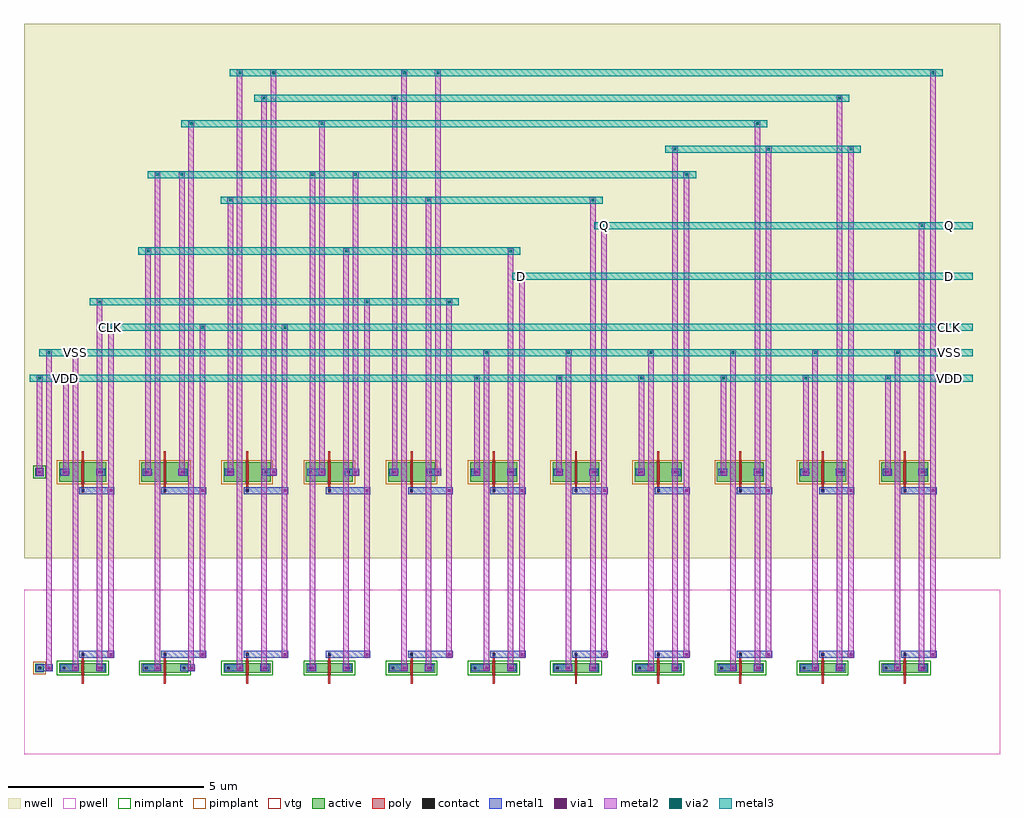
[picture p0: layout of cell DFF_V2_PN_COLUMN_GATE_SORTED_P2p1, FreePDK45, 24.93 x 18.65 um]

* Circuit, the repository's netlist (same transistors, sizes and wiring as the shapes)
* cell DFF_V2_PN_COLUMN_GATE_SORTED_P2p1
* pin CLK
* pin D
* pin Q
* pin VDD
* pin VSS
.SUBCKT DFF_V2_PN_COLUMN_GATE_SORTED_P2p1 7 8 9 12 13
* net 7 CLK
* net 8 D
* net 9 Q
* net 12 VDD
* net 13 VSS
* device instance $1 r0 *1 22.2,7 PMOS_VTG
M$1 9 4 12 12 PMOS_VTG L=0.05U W=0.5U AS=0.2875P AD=0.2875P PS=2.15U PD=2.15U
* device instance $2 r0 *1 18,7 PMOS_VTG
M$2 3 6 12 12 PMOS_VTG L=0.05U W=0.5U AS=0.2875P AD=0.2875P PS=2.15U PD=2.15U
* device instance $3 r0 *1 15.9,7 PMOS_VTG
M$3 6 2 12 12 PMOS_VTG L=0.05U W=0.5U AS=0.2875P AD=0.2875P PS=2.15U PD=2.15U
* device instance $4 r0 *1 13.8,7 PMOS_VTG
M$4 11 9 12 12 PMOS_VTG L=0.05U W=0.5U AS=0.2875P AD=0.2875P PS=2.15U PD=2.15U
* device instance $5 r0 *1 20.1,7 PMOS_VTG
M$5 5 6 12 12 PMOS_VTG L=0.05U W=0.5U AS=0.2875P AD=0.2875P PS=2.15U PD=2.15U
* device instance $6 r0 *1 1.2,7 PMOS_VTG
M$6 1 7 12 12 PMOS_VTG L=0.05U W=0.5U AS=0.2875P AD=0.2875P PS=2.15U PD=2.15U
* device instance $7 r0 *1 3.3,7 PMOS_VTG
M$7 2 7 10 12 PMOS_VTG L=0.05U W=0.5U AS=0.2875P AD=0.2875P PS=2.15U PD=2.15U
* device instance $8 r0 *1 5.4,7 PMOS_VTG
M$8 4 7 11 12 PMOS_VTG L=0.05U W=0.5U AS=0.2875P AD=0.2875P PS=2.15U PD=2.15U
* device instance $9 r0 *1 7.5,7 PMOS_VTG
M$9 2 1 3 12 PMOS_VTG L=0.05U W=0.5U AS=0.2875P AD=0.2875P PS=2.15U PD=2.15U
* device instance $10 r0 *1 9.6,7 PMOS_VTG
M$10 4 1 5 12 PMOS_VTG L=0.05U W=0.5U AS=0.2875P AD=0.2875P PS=2.15U PD=2.15U
* device instance $11 r0 *1 11.7,7 PMOS_VTG
M$11 10 8 12 12 PMOS_VTG L=0.05U W=0.5U AS=0.2875P AD=0.2875P PS=2.15U PD=2.15U
* device instance $12 r0 *1 22.2,2 NMOS_VTG
M$12 9 4 13 13 NMOS_VTG L=0.05U W=0.25U AS=0.14375P AD=0.14375P PS=1.65U
+ PD=1.65U
* device instance $13 r0 *1 18,2 NMOS_VTG
M$13 3 6 13 13 NMOS_VTG L=0.05U W=0.25U AS=0.14375P AD=0.14375P PS=1.65U
+ PD=1.65U
* device instance $14 r0 *1 15.9,2 NMOS_VTG
M$14 6 2 13 13 NMOS_VTG L=0.05U W=0.25U AS=0.14375P AD=0.14375P PS=1.65U
+ PD=1.65U
* device instance $15 r0 *1 20.1,2 NMOS_VTG
M$15 5 6 13 13 NMOS_VTG L=0.05U W=0.25U AS=0.14375P AD=0.14375P PS=1.65U
+ PD=1.65U
* device instance $16 r0 *1 13.8,2 NMOS_VTG
M$16 11 9 13 13 NMOS_VTG L=0.05U W=0.25U AS=0.14375P AD=0.14375P PS=1.65U
+ PD=1.65U
* device instance $17 r0 *1 1.2,2 NMOS_VTG
M$17 1 7 13 13 NMOS_VTG L=0.05U W=0.25U AS=0.14375P AD=0.14375P PS=1.65U
+ PD=1.65U
* device instance $18 r0 *1 3.3,2 NMOS_VTG
M$18 3 7 2 13 NMOS_VTG L=0.05U W=0.25U AS=0.14375P AD=0.14375P PS=1.65U PD=1.65U
* device instance $19 r0 *1 5.4,2 NMOS_VTG
M$19 5 7 4 13 NMOS_VTG L=0.05U W=0.25U AS=0.14375P AD=0.14375P PS=1.65U PD=1.65U
* device instance $20 r0 *1 7.5,2 NMOS_VTG
M$20 10 1 2 13 NMOS_VTG L=0.05U W=0.25U AS=0.14375P AD=0.14375P PS=1.65U
+ PD=1.65U
* device instance $21 r0 *1 9.6,2 NMOS_VTG
M$21 11 1 4 13 NMOS_VTG L=0.05U W=0.25U AS=0.14375P AD=0.14375P PS=1.65U
+ PD=1.65U
* device instance $22 r0 *1 11.7,2 NMOS_VTG
M$22 10 8 13 13 NMOS_VTG L=0.05U W=0.25U AS=0.14375P AD=0.14375P PS=1.65U
+ PD=1.65U
.ENDS DFF_V2_PN_COLUMN_GATE_SORTED_P2p1

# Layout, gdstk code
import gdstk
lib = gdstk.Library(unit=1e-6, precision=5e-10)
def R(c, l, rs):  # rectangles x0, y0, x1, y1
    for r in rs: c.add(gdstk.rectangle(r[:2], r[2:], *l))
def A(c, l, x, y, w, h, nx, ny, dx, dy):  # array of equal rectangles
    R(c, l, [(x+i*dx, y+j*dy, x+i*dx+w, y+j*dy+h) for i in range(nx) for j in range(ny)])
active = (1, 0)
pwell = (2, 0)
nwell = (3, 0)
nimplant = (4, 0)
pimplant = (5, 0)
vtg = (6, 0)
poly = (9, 0)
contact = (10, 0)
metal1 = (11, 0)
via1 = (12, 0)
metal2 = (13, 0)
via2 = (14, 0)
metal3 = (15, 0)

dff_v2_pn_column_gate_so = lib.new_cell('DFF_V2_PN_COLUMN_GATE_SORTED_P2p1')
A(dff_v2_pn_column_gate_so, active, 0.6, 1.875, 1.2, 0.25, 11, 1, 2.1, 0)
A(dff_v2_pn_column_gate_so, active, 0.6, 6.75, 1.2, 0.5, 11, 1, 2.1, 0)
R(dff_v2_pn_column_gate_so, active, [(-0.01,1.89,0.21,2.11), (-0.01,6.89,0.21,7.11)])
R(dff_v2_pn_column_gate_so, pwell, [(-0.3,-0.2,24.63,4)])
R(dff_v2_pn_column_gate_so, nwell, [(-0.3,4.8,24.63,18.45)])
A(dff_v2_pn_column_gate_so, nimplant, 0.54, 1.815, 1.32, 0.37, 11, 1, 2.1, 0)
R(dff_v2_pn_column_gate_so, nimplant, [(-0.06,6.84,0.26,7.16)])
A(dff_v2_pn_column_gate_so, pimplant, 0.54, 6.69, 1.32, 0.62, 11, 1, 2.1, 0)
R(dff_v2_pn_column_gate_so, pimplant, [(-0.06,1.84,0.26,2.16)])
A(dff_v2_pn_column_gate_so, vtg, 1.165, 1.845, 0.07, 0.31, 11, 1, 2.1, 0)
A(dff_v2_pn_column_gate_so, vtg, 1.165, 6.72, 0.07, 0.56, 11, 1, 2.1, 0)
A(dff_v2_pn_column_gate_so, poly, 1.175, 1.595, 0.05, 0.81, 11, 1, 2.1, 0)
A(dff_v2_pn_column_gate_so, poly, 1.175, 6.47, 0.05, 1.06, 11, 1, 2.1, 0)
A(dff_v2_pn_column_gate_so, contact, 1.17, 2.315, 0.065, 0.065, 11, 2, 2.1, 4.185)
R(dff_v2_pn_column_gate_so, contact, [(0.07,1.97,0.135,2.035), (0.69,1.97,0.755,2.035), (1.65,1.97,1.715,2.035), (2.79,1.97,2.855,2.035), (3.75,1.97,3.815,2.035), (4.89,1.97,4.955,2.035), (5.85,1.97,5.915,2.035), (6.99,1.97,7.055,2.035), (7.95,1.97,8.015,2.035), (9.09,1.97,9.155,2.035), (10.05,1.97,10.115,2.035), (11.19,1.97,11.255,2.035), (12.15,1.97,12.215,2.035), (13.29,1.97,13.355,2.035), (14.25,1.97,14.315,2.035), (15.39,1.97,15.455,2.035), (16.35,1.97,16.415,2.035), (17.49,1.97,17.555,2.035), (18.45,1.97,18.515,2.035), (19.59,1.97,19.655,2.035), (20.55,1.97,20.615,2.035), (21.69,1.97,21.755,2.035), (22.65,1.97,22.715,2.035), (0.07,6.97,0.135,7.035), (0.69,6.97,0.755,7.035), (1.65,6.97,1.715,7.035), (2.79,6.97,2.855,7.035), (3.75,6.97,3.815,7.035), (4.89,6.97,4.955,7.035), (5.85,6.97,5.915,7.035), (6.99,6.97,7.055,7.035), (7.95,6.97,8.015,7.035), (9.09,6.97,9.155,7.035), (10.05,6.97,10.115,7.035), (11.19,6.97,11.255,7.035), (12.15,6.97,12.215,7.035), (13.29,6.97,13.355,7.035), (14.25,6.97,14.315,7.035), (15.39,6.97,15.455,7.035), (16.35,6.97,16.415,7.035), (17.49,6.97,17.555,7.035), (18.45,6.97,18.515,7.035), (19.59,6.97,19.655,7.035), (20.55,6.97,20.615,7.035), (21.69,6.97,21.755,7.035), (22.65,6.97,22.715,7.035)])
A(dff_v2_pn_column_gate_so, metal1, 9.17, 1.91, 0.24, 0.18, 7, 1, 2.1, 0)
A(dff_v2_pn_column_gate_so, metal1, 3.3, 2.255, 0.96, 0.18, 4, 2, 2.1, 4.185)
A(dff_v2_pn_column_gate_so, metal1, 11.7, 2.255, 0.72, 0.18, 6, 2, 2.1, 4.185)
R(dff_v2_pn_column_gate_so, metal1, [(0,1.9,0.2,2.1), (0.1,1.91,0.34,2.09), (0.1,1.91,0.34,2.09), (0.1,1.91,0.34,2.09), (0.1,1.91,0.34,2.09), (0.1,1.91,0.34,2.09), (0.1,1.91,0.34,2.09), (0.1,1.91,0.34,2.09), (0.1,1.91,0.34,2.09), (0.1,1.91,0.34,2.09), (0.1,1.91,0.34,2.09), (0.1,1.91,0.34,2.09), (0.1,1.91,0.34,2.09), (0.25,1.91,0.43,2.09), (0.25,1.91,0.43,2.09), (0.25,1.91,0.43,2.09), (0.25,1.91,0.43,2.09), (0.25,1.91,0.43,2.09), (0.25,1.91,0.43,2.09), (0.25,1.91,0.43,2.09), (0.25,1.91,0.43,2.09), (0.25,1.91,0.43,2.09), (0.25,1.91,0.43,2.09), (0.25,1.91,0.43,2.09), (0.25,1.91,0.43,2.09), (0.63,1.91,0.81,2.09), (0.77,1.91,1.01,2.09), (0.92,1.91,1.1,2.09), (1.54,1.91,1.72,2.09), (1.59,1.91,1.77,2.09), (2.73,1.91,2.91,2.09), (2.87,1.91,3.11,2.09), (3.02,1.91,3.2,2.09), (3.69,1.91,3.87,2.09), (3.73,1.91,3.97,2.09), (3.88,1.91,4.06,2.09), (4.83,1.91,5.01,2.09), (4.97,1.91,5.21,2.09), (5.12,1.91,5.3,2.09), (5.74,1.91,5.92,2.09), (5.79,1.91,5.97,2.09), (6.93,1.91,7.11,2.09), (6.98,1.91,7.16,2.09), (7.84,1.91,8.02,2.09), (7.89,1.91,8.07,2.09), (9.03,1.91,9.21,2.09), (9.32,1.91,9.5,2.09), (9.94,1.91,10.12,2.09), (9.99,1.91,10.17,2.09), (11.13,1.91,11.31,2.09), (11.42,1.91,11.6,2.09), (12.04,1.91,12.22,2.09), (12.09,1.91,12.27,2.09), (13.23,1.91,13.41,2.09), (13.52,1.91,13.7,2.09), (14.14,1.91,14.32,2.09), (14.19,1.91,14.37,2.09), (15.33,1.91,15.51,2.09), (15.62,1.91,15.8,2.09), (16.24,1.91,16.42,2.09), (16.29,1.91,16.47,2.09), (17.43,1.91,17.61,2.09), (17.72,1.91,17.9,2.09), (18.34,1.91,18.52,2.09), (18.39,1.91,18.57,2.09), (19.53,1.91,19.71,2.09), (19.82,1.91,20,2.09), (20.44,1.91,20.62,2.09), (20.49,1.91,20.67,2.09), (21.63,1.91,21.81,2.09), (21.92,1.91,22.1,2.09), (22.54,1.91,22.72,2.09), (22.59,1.91,22.77,2.09), (1.11,2.255,1.29,2.435), (1.2,2.255,1.92,2.435), (1.83,2.255,2.01,2.435), (3.21,2.255,3.39,2.435), (4.17,2.255,4.35,2.435), (5.31,2.255,5.49,2.435), (6.27,2.255,6.45,2.435), (7.41,2.255,7.59,2.435), (8.37,2.255,8.55,2.435), (9.51,2.255,9.69,2.435), (10.47,2.255,10.65,2.435), (11.61,2.255,11.79,2.435), (12.33,2.255,12.51,2.435), (13.71,2.255,13.89,2.435), (14.43,2.255,14.61,2.435), (15.81,2.255,15.99,2.435), (16.53,2.255,16.71,2.435), (17.91,2.255,18.09,2.435), (18.63,2.255,18.81,2.435), (20.01,2.255,20.19,2.435), (20.73,2.255,20.91,2.435), (22.11,2.255,22.29,2.435), (22.83,2.255,23.01,2.435), (1.11,6.44,1.29,6.62), (1.2,6.44,1.92,6.62), (1.83,6.44,2.01,6.62), (3.21,6.44,3.39,6.62), (4.17,6.44,4.35,6.62), (5.31,6.44,5.49,6.62), (6.27,6.44,6.45,6.62), (7.41,6.44,7.59,6.62), (8.37,6.44,8.55,6.62), (9.51,6.44,9.69,6.62), (10.47,6.44,10.65,6.62), (11.61,6.44,11.79,6.62), (12.33,6.44,12.51,6.62), (13.71,6.44,13.89,6.62), (14.43,6.44,14.61,6.62), (15.81,6.44,15.99,6.62), (16.53,6.44,16.71,6.62), (17.91,6.44,18.09,6.62), (18.63,6.44,18.81,6.62), (20.01,6.44,20.19,6.62), (20.73,6.44,20.91,6.62), (22.11,6.44,22.29,6.62), (22.83,6.44,23.01,6.62), (0,6.9,0.2,7.1), (0.01,6.91,0.19,7.09), (0.01,6.91,0.19,7.09), (0.01,6.91,0.19,7.09), (0.01,6.91,0.19,7.09), (0.01,6.91,0.19,7.09), (0.01,6.91,0.19,7.09), (0.01,6.91,0.19,7.09), (0.01,6.91,0.19,7.09), (0.01,6.91,0.19,7.09), (0.01,6.91,0.19,7.09), (0.01,6.91,0.19,7.09), (0.01,6.91,0.19,7.09), (0.63,6.91,0.81,7.09), (0.68,6.91,0.86,7.09), (1.54,6.91,1.72,7.09), (1.59,6.91,1.77,7.09), (2.73,6.91,2.91,7.09), (2.78,6.91,2.96,7.09), (3.64,6.91,3.82,7.09), (3.69,6.91,3.87,7.09), (4.83,6.91,5.01,7.09), (4.88,6.91,5.06,7.09), (5.79,6.91,5.97,7.09), (5.83,6.91,6.07,7.09), (5.98,6.91,6.16,7.09), (6.93,6.91,7.11,7.09), (7.07,6.91,7.31,7.09), (7.22,6.91,7.4,7.09), (7.89,6.91,8.07,7.09), (7.93,6.91,8.17,7.09), (8.08,6.91,8.26,7.09), (9.03,6.91,9.21,7.09), (9.08,6.91,9.26,7.09), (9.99,6.91,10.17,7.09), (10.03,6.91,10.27,7.09), (10.18,6.91,10.36,7.09), (11.13,6.91,11.31,7.09), (11.18,6.91,11.36,7.09), (12.04,6.91,12.22,7.09), (12.09,6.91,12.27,7.09), (13.23,6.91,13.41,7.09), (13.28,6.91,13.46,7.09), (14.14,6.91,14.32,7.09), (14.19,6.91,14.37,7.09), (15.33,6.91,15.51,7.09), (15.38,6.91,15.56,7.09), (16.24,6.91,16.42,7.09), (16.29,6.91,16.47,7.09), (17.43,6.91,17.61,7.09), (17.48,6.91,17.66,7.09), (18.34,6.91,18.52,7.09), (18.39,6.91,18.57,7.09), (19.53,6.91,19.71,7.09), (19.58,6.91,19.76,7.09), (20.44,6.91,20.62,7.09), (20.49,6.91,20.67,7.09), (21.63,6.91,21.81,7.09), (21.68,6.91,21.86,7.09), (22.54,6.91,22.72,7.09), (22.59,6.91,22.77,7.09)])
A(dff_v2_pn_column_gate_so, via1, 4.23, 2.315, 0.065, 0.065, 4, 2, 2.1, 4.185)
A(dff_v2_pn_column_gate_so, via1, 12.39, 2.315, 0.065, 0.065, 6, 2, 2.1, 4.185)
R(dff_v2_pn_column_gate_so, via1, [(0.31,1.97,0.375,2.035), (0.31,1.97,0.375,2.035), (0.31,1.97,0.375,2.035), (0.31,1.97,0.375,2.035), (0.31,1.97,0.375,2.035), (0.31,1.97,0.375,2.035), (0.31,1.97,0.375,2.035), (0.31,1.97,0.375,2.035), (0.31,1.97,0.375,2.035), (0.31,1.97,0.375,2.035), (0.31,1.97,0.375,2.035), (0.31,1.97,0.375,2.035), (0.98,1.97,1.045,2.035), (1.6,1.97,1.665,2.035), (3.08,1.97,3.145,2.035), (3.94,1.97,4.005,2.035), (5.18,1.97,5.245,2.035), (5.8,1.97,5.865,2.035), (7.04,1.97,7.105,2.035), (7.9,1.97,7.965,2.035), (9.38,1.97,9.445,2.035), (10,1.97,10.065,2.035), (11.48,1.97,11.545,2.035), (12.1,1.97,12.165,2.035), (13.58,1.97,13.645,2.035), (14.2,1.97,14.265,2.035), (15.68,1.97,15.745,2.035), (16.3,1.97,16.365,2.035), (17.78,1.97,17.845,2.035), (18.4,1.97,18.465,2.035), (19.88,1.97,19.945,2.035), (20.5,1.97,20.565,2.035), (21.98,1.97,22.045,2.035), (22.6,1.97,22.665,2.035), (1.89,2.315,1.955,2.38), (1.89,6.5,1.955,6.565), (0.07,6.97,0.135,7.035), (0.07,6.97,0.135,7.035), (0.07,6.97,0.135,7.035), (0.07,6.97,0.135,7.035), (0.07,6.97,0.135,7.035), (0.07,6.97,0.135,7.035), (0.07,6.97,0.135,7.035), (0.07,6.97,0.135,7.035), (0.07,6.97,0.135,7.035), (0.07,6.97,0.135,7.035), (0.07,6.97,0.135,7.035), (0.07,6.97,0.135,7.035), (0.74,6.97,0.805,7.035), (1.6,6.97,1.665,7.035), (2.84,6.97,2.905,7.035), (3.7,6.97,3.765,7.035), (4.94,6.97,5.005,7.035), (6.04,6.97,6.105,7.035), (7.28,6.97,7.345,7.035), (8.14,6.97,8.205,7.035), (9.14,6.97,9.205,7.035), (10.24,6.97,10.305,7.035), (11.24,6.97,11.305,7.035), (12.1,6.97,12.165,7.035), (13.34,6.97,13.405,7.035), (14.2,6.97,14.265,7.035), (15.44,6.97,15.505,7.035), (16.3,6.97,16.365,7.035), (17.54,6.97,17.605,7.035), (18.4,6.97,18.465,7.035), (19.64,6.97,19.705,7.035), (20.5,6.97,20.565,7.035), (21.74,6.97,21.805,7.035), (22.6,6.97,22.665,7.035)])
A(dff_v2_pn_column_gate_so, metal2, 11.44, 2, 0.14, 8.05, 6, 1, 2.1, 0)
A(dff_v2_pn_column_gate_so, metal2, 4.185, 2.27, 0.15, 0.15, 4, 2, 2.1, 4.185)
A(dff_v2_pn_column_gate_so, metal2, 12.345, 2.27, 0.15, 0.15, 6, 2, 2.1, 4.185)
A(dff_v2_pn_column_gate_so, metal2, 11.2, 7, 0.14, 2.4, 6, 1, 2.1, 0)
A(dff_v2_pn_column_gate_so, metal2, 11.195, 9.325, 0.15, 0.15, 6, 1, 2.1, 0)
A(dff_v2_pn_column_gate_so, metal2, 11.435, 9.975, 0.15, 0.15, 6, 1, 2.1, 0)
R(dff_v2_pn_column_gate_so, metal2, [(0.265,1.925,0.415,2.075), (0.265,1.925,0.415,2.075), (0.265,1.925,0.415,2.075), (0.265,1.925,0.415,2.075), (0.265,1.925,0.415,2.075), (0.265,1.925,0.415,2.075), (0.265,1.925,0.415,2.075), (0.265,1.925,0.415,2.075), (0.265,1.925,0.415,2.075), (0.265,1.925,0.415,2.075), (0.265,1.925,0.415,2.075), (0.265,1.925,0.415,2.075), (0.935,1.925,1.085,2.075), (1.555,1.925,1.705,2.075), (3.035,1.925,3.185,2.075), (3.895,1.925,4.045,2.075), (5.135,1.925,5.285,2.075), (5.755,1.925,5.905,2.075), (6.995,1.925,7.145,2.075), (7.855,1.925,8.005,2.075), (9.335,1.925,9.485,2.075), (9.955,1.925,10.105,2.075), (11.435,1.925,11.585,2.075), (12.055,1.925,12.205,2.075), (13.535,1.925,13.685,2.075), (14.155,1.925,14.305,2.075), (15.635,1.925,15.785,2.075), (16.255,1.925,16.405,2.075), (17.735,1.925,17.885,2.075), (18.355,1.925,18.505,2.075), (19.835,1.925,19.985,2.075), (20.455,1.925,20.605,2.075), (21.935,1.925,22.085,2.075), (22.555,1.925,22.705,2.075), (0.27,2,0.41,10.05), (0.27,2,0.41,10.05), (0.27,2,0.41,10.05), (0.27,2,0.41,10.05), (0.27,2,0.41,10.05), (0.27,2,0.41,10.05), (0.27,2,0.41,10.05), (0.27,2,0.41,10.05), (0.27,2,0.41,10.05), (0.27,2,0.41,10.05), (0.27,2,0.41,10.05), (0.27,2,0.41,10.05), (0.94,2,1.08,10.05), (1.56,2,1.7,11.35), (3.04,2,3.18,14.6), (3.9,2,4.04,15.9), (5.14,2,5.28,17.2), (5.76,2,5.9,16.55), (7,2,7.14,14.6), (7.86,2,8,12.65), (9.34,2,9.48,17.2), (9.96,2,10.1,13.95), (12.06,2,12.2,12.65), (14.16,2,14.3,13.95), (16.26,2,16.4,15.25), (18.36,2,18.5,15.9), (20.46,2,20.6,16.55), (22.56,2,22.7,13.3), (1.845,2.27,1.995,2.42), (1.85,2.345,1.99,10.7), (4.19,2.345,4.33,10.7), (6.29,2.345,6.43,10.7), (8.39,2.345,8.53,11.35), (10.49,2.345,10.63,11.35), (12.35,2.345,12.49,12), (14.45,2.345,14.59,13.3), (16.55,2.345,16.69,14.6), (18.65,2.345,18.79,15.25), (20.75,2.345,20.89,15.25), (22.85,2.345,22.99,17.2), (1.845,6.455,1.995,6.605), (1.85,6.53,1.99,10.7), (4.19,6.53,4.33,10.7), (6.29,6.53,6.43,10.7), (8.39,6.53,8.53,11.35), (10.49,6.53,10.63,11.35), (12.35,6.53,12.49,12), (14.45,6.53,14.59,13.3), (16.55,6.53,16.69,14.6), (18.65,6.53,18.79,15.25), (20.75,6.53,20.89,15.25), (22.85,6.53,22.99,17.2), (0.025,6.925,0.175,7.075), (0.025,6.925,0.175,7.075), (0.025,6.925,0.175,7.075), (0.025,6.925,0.175,7.075), (0.025,6.925,0.175,7.075), (0.025,6.925,0.175,7.075), (0.025,6.925,0.175,7.075), (0.025,6.925,0.175,7.075), (0.025,6.925,0.175,7.075), (0.025,6.925,0.175,7.075), (0.025,6.925,0.175,7.075), (0.025,6.925,0.175,7.075), (0.695,6.925,0.845,7.075), (1.555,6.925,1.705,7.075), (2.795,6.925,2.945,7.075), (3.655,6.925,3.805,7.075), (4.895,6.925,5.045,7.075), (5.995,6.925,6.145,7.075), (7.235,6.925,7.385,7.075), (8.095,6.925,8.245,7.075), (9.095,6.925,9.245,7.075), (10.195,6.925,10.345,7.075), (11.195,6.925,11.345,7.075), (12.055,6.925,12.205,7.075), (13.295,6.925,13.445,7.075), (14.155,6.925,14.305,7.075), (15.395,6.925,15.545,7.075), (16.255,6.925,16.405,7.075), (17.495,6.925,17.645,7.075), (18.355,6.925,18.505,7.075), (19.595,6.925,19.745,7.075), (20.455,6.925,20.605,7.075), (21.695,6.925,21.845,7.075), (22.555,6.925,22.705,7.075), (0.03,7,0.17,9.4), (0.03,7,0.17,9.4), (0.03,7,0.17,9.4), (0.03,7,0.17,9.4), (0.03,7,0.17,9.4), (0.03,7,0.17,9.4), (0.03,7,0.17,9.4), (0.03,7,0.17,9.4), (0.03,7,0.17,9.4), (0.03,7,0.17,9.4), (0.03,7,0.17,9.4), (0.03,7,0.17,9.4), (0.7,7,0.84,9.4), (1.56,7,1.7,11.35), (2.8,7,2.94,12.65), (3.66,7,3.8,14.6), (4.9,7,5.04,13.95), (6,7,6.14,17.2), (7.24,7,7.38,15.9), (8.1,7,8.24,14.6), (9.1,7,9.24,16.55), (10.2,7,10.34,17.2), (12.06,7,12.2,12.65), (14.16,7,14.3,13.95), (16.26,7,16.4,15.25), (18.36,7,18.5,15.9), (20.46,7,20.6,16.55), (22.56,7,22.7,13.3), (0.025,9.325,0.175,9.475), (0.025,9.325,0.175,9.475), (0.025,9.325,0.175,9.475), (0.025,9.325,0.175,9.475), (0.025,9.325,0.175,9.475), (0.025,9.325,0.175,9.475), (0.025,9.325,0.175,9.475), (0.025,9.325,0.175,9.475), (0.025,9.325,0.175,9.475), (0.025,9.325,0.175,9.475), (0.025,9.325,0.175,9.475), (0.025,9.325,0.175,9.475), (0.695,9.325,0.845,9.475), (0.265,9.975,0.415,10.125), (0.265,9.975,0.415,10.125), (0.265,9.975,0.415,10.125), (0.265,9.975,0.415,10.125), (0.265,9.975,0.415,10.125), (0.265,9.975,0.415,10.125), (0.265,9.975,0.415,10.125), (0.265,9.975,0.415,10.125), (0.265,9.975,0.415,10.125), (0.265,9.975,0.415,10.125), (0.265,9.975,0.415,10.125), (0.265,9.975,0.415,10.125), (0.935,9.975,1.085,10.125), (1.845,10.625,1.995,10.775), (1.845,10.625,1.995,10.775), (4.185,10.625,4.335,10.775), (4.185,10.625,4.335,10.775), (6.285,10.625,6.435,10.775), (6.285,10.625,6.435,10.775), (1.555,11.275,1.705,11.425), (1.555,11.275,1.705,11.425), (8.385,11.275,8.535,11.425), (8.385,11.275,8.535,11.425), (10.485,11.275,10.635,11.425), (10.485,11.275,10.635,11.425), (12.345,11.925,12.495,12.075), (12.345,11.925,12.495,12.075), (2.795,12.575,2.945,12.725), (7.855,12.575,8.005,12.725), (12.055,12.575,12.205,12.725), (12.055,12.575,12.205,12.725), (14.445,13.225,14.595,13.375), (14.445,13.225,14.595,13.375), (22.555,13.225,22.705,13.375), (22.555,13.225,22.705,13.375), (4.895,13.875,5.045,14.025), (9.955,13.875,10.105,14.025), (14.155,13.875,14.305,14.025), (14.155,13.875,14.305,14.025), (3.035,14.525,3.185,14.675), (3.655,14.525,3.805,14.675), (6.995,14.525,7.145,14.675), (8.095,14.525,8.245,14.675), (16.545,14.525,16.695,14.675), (16.545,14.525,16.695,14.675), (16.255,15.175,16.405,15.325), (16.255,15.175,16.405,15.325), (18.645,15.175,18.795,15.325), (18.645,15.175,18.795,15.325), (20.745,15.175,20.895,15.325), (20.745,15.175,20.895,15.325), (3.895,15.825,4.045,15.975), (7.235,15.825,7.385,15.975), (18.355,15.825,18.505,15.975), (18.355,15.825,18.505,15.975), (5.755,16.475,5.905,16.625), (9.095,16.475,9.245,16.625), (20.455,16.475,20.605,16.625), (20.455,16.475,20.605,16.625), (5.135,17.125,5.285,17.275), (5.995,17.125,6.145,17.275), (9.335,17.125,9.485,17.275), (10.195,17.125,10.345,17.275), (22.845,17.125,22.995,17.275), (22.845,17.125,22.995,17.275)])
A(dff_v2_pn_column_gate_so, via2, 11.24, 9.37, 0.065, 0.065, 6, 1, 2.1, 0)
A(dff_v2_pn_column_gate_so, via2, 11.48, 10.02, 0.065, 0.065, 6, 1, 2.1, 0)
R(dff_v2_pn_column_gate_so, via2, [(0.07,9.37,0.135,9.435), (0.07,9.37,0.135,9.435), (0.07,9.37,0.135,9.435), (0.07,9.37,0.135,9.435), (0.07,9.37,0.135,9.435), (0.07,9.37,0.135,9.435), (0.07,9.37,0.135,9.435), (0.07,9.37,0.135,9.435), (0.07,9.37,0.135,9.435), (0.07,9.37,0.135,9.435), (0.07,9.37,0.135,9.435), (0.07,9.37,0.135,9.435), (0.74,9.37,0.805,9.435), (0.31,10.02,0.375,10.085), (0.31,10.02,0.375,10.085), (0.31,10.02,0.375,10.085), (0.31,10.02,0.375,10.085), (0.31,10.02,0.375,10.085), (0.31,10.02,0.375,10.085), (0.31,10.02,0.375,10.085), (0.31,10.02,0.375,10.085), (0.31,10.02,0.375,10.085), (0.31,10.02,0.375,10.085), (0.31,10.02,0.375,10.085), (0.31,10.02,0.375,10.085), (0.98,10.02,1.045,10.085), (1.89,10.67,1.955,10.735), (1.89,10.67,1.955,10.735), (4.23,10.67,4.295,10.735), (4.23,10.67,4.295,10.735), (6.33,10.67,6.395,10.735), (6.33,10.67,6.395,10.735), (1.6,11.32,1.665,11.385), (1.6,11.32,1.665,11.385), (8.43,11.32,8.495,11.385), (8.43,11.32,8.495,11.385), (10.53,11.32,10.595,11.385), (10.53,11.32,10.595,11.385), (12.39,11.97,12.455,12.035), (12.39,11.97,12.455,12.035), (2.84,12.62,2.905,12.685), (7.9,12.62,7.965,12.685), (12.1,12.62,12.165,12.685), (12.1,12.62,12.165,12.685), (14.49,13.27,14.555,13.335), (14.49,13.27,14.555,13.335), (22.6,13.27,22.665,13.335), (22.6,13.27,22.665,13.335), (4.94,13.92,5.005,13.985), (10,13.92,10.065,13.985), (14.2,13.92,14.265,13.985), (14.2,13.92,14.265,13.985), (3.08,14.57,3.145,14.635), (3.7,14.57,3.765,14.635), (7.04,14.57,7.105,14.635), (8.14,14.57,8.205,14.635), (16.59,14.57,16.655,14.635), (16.59,14.57,16.655,14.635), (16.3,15.22,16.365,15.285), (16.3,15.22,16.365,15.285), (18.69,15.22,18.755,15.285), (18.69,15.22,18.755,15.285), (20.79,15.22,20.855,15.285), (20.79,15.22,20.855,15.285), (3.94,15.87,4.005,15.935), (7.28,15.87,7.345,15.935), (18.4,15.87,18.465,15.935), (18.4,15.87,18.465,15.935), (5.8,16.52,5.865,16.585), (9.14,16.52,9.205,16.585), (20.5,16.52,20.565,16.585), (20.5,16.52,20.565,16.585), (5.18,17.17,5.245,17.235), (6.04,17.17,6.105,17.235), (9.38,17.17,9.445,17.235), (10.24,17.17,10.305,17.235), (22.89,17.17,22.955,17.235), (22.89,17.17,22.955,17.235)])
A(dff_v2_pn_column_gate_so, metal3, 11.195, 9.325, 0.15, 0.15, 6, 1, 2.1, 0)
A(dff_v2_pn_column_gate_so, metal3, 11.435, 9.975, 0.15, 0.15, 6, 1, 2.1, 0)
R(dff_v2_pn_column_gate_so, metal3, [(-0.15,9.31,22.02,9.49), (22.02,9.31,23.93,9.49), (0.025,9.325,0.175,9.475), (0.025,9.325,0.175,9.475), (0.025,9.325,0.175,9.475), (0.025,9.325,0.175,9.475), (0.025,9.325,0.175,9.475), (0.025,9.325,0.175,9.475), (0.025,9.325,0.175,9.475), (0.025,9.325,0.175,9.475), (0.025,9.325,0.175,9.475), (0.025,9.325,0.175,9.475), (0.025,9.325,0.175,9.475), (0.025,9.325,0.175,9.475), (0.695,9.325,0.845,9.475), (0.09,9.96,22.26,10.14), (22.26,9.96,23.93,10.14), (0.265,9.975,0.415,10.125), (0.265,9.975,0.415,10.125), (0.265,9.975,0.415,10.125), (0.265,9.975,0.415,10.125), (0.265,9.975,0.415,10.125), (0.265,9.975,0.415,10.125), (0.265,9.975,0.415,10.125), (0.265,9.975,0.415,10.125), (0.265,9.975,0.415,10.125), (0.265,9.975,0.415,10.125), (0.265,9.975,0.415,10.125), (0.265,9.975,0.415,10.125), (0.935,9.975,1.085,10.125), (1.67,10.61,6.61,10.79), (6.61,10.61,23.93,10.79), (1.845,10.625,1.995,10.775), (1.845,10.625,1.995,10.775), (4.185,10.625,4.335,10.775), (4.185,10.625,4.335,10.775), (6.285,10.625,6.435,10.775), (6.285,10.625,6.435,10.775), (1.38,11.26,10.81,11.44), (1.555,11.275,1.705,11.425), (1.555,11.275,1.705,11.425), (8.385,11.275,8.535,11.425), (8.385,11.275,8.535,11.425), (10.485,11.275,10.635,11.425), (10.485,11.275,10.635,11.425), (12.17,11.91,12.67,12.09), (12.67,11.91,23.93,12.09), (12.345,11.925,12.495,12.075), (12.345,11.925,12.495,12.075), (2.62,12.56,12.38,12.74), (2.795,12.575,2.945,12.725), (7.855,12.575,8.005,12.725), (12.055,12.575,12.205,12.725), (12.055,12.575,12.205,12.725), (14.27,13.21,22.88,13.39), (22.88,13.21,23.93,13.39), (14.445,13.225,14.595,13.375), (14.445,13.225,14.595,13.375), (22.555,13.225,22.705,13.375), (22.555,13.225,22.705,13.375), (4.72,13.86,14.48,14.04), (4.895,13.875,5.045,14.025), (9.955,13.875,10.105,14.025), (14.155,13.875,14.305,14.025), (14.155,13.875,14.305,14.025), (2.86,14.51,16.87,14.69), (3.035,14.525,3.185,14.675), (3.655,14.525,3.805,14.675), (6.995,14.525,7.145,14.675), (8.095,14.525,8.245,14.675), (16.545,14.525,16.695,14.675), (16.545,14.525,16.695,14.675), (16.08,15.16,21.07,15.34), (16.255,15.175,16.405,15.325), (16.255,15.175,16.405,15.325), (18.645,15.175,18.795,15.325), (18.645,15.175,18.795,15.325), (20.745,15.175,20.895,15.325), (20.745,15.175,20.895,15.325), (3.72,15.81,18.68,15.99), (3.895,15.825,4.045,15.975), (7.235,15.825,7.385,15.975), (18.355,15.825,18.505,15.975), (18.355,15.825,18.505,15.975), (5.58,16.46,20.78,16.64), (5.755,16.475,5.905,16.625), (9.095,16.475,9.245,16.625), (20.455,16.475,20.605,16.625), (20.455,16.475,20.605,16.625), (4.96,17.11,23.17,17.29), (5.135,17.125,5.285,17.275), (5.995,17.125,6.145,17.275), (9.335,17.125,9.485,17.275), (10.195,17.125,10.345,17.275), (22.845,17.125,22.995,17.275), (22.845,17.125,22.995,17.275)])
dff_v2_pn_column_gate_so.add(gdstk.Label('VDD', (23.33,9.4), layer=15, texttype=0))
dff_v2_pn_column_gate_so.add(gdstk.Label('VDD', (23.33,9.4), layer=15, texttype=1))
dff_v2_pn_column_gate_so.add(gdstk.Label('VDD', (23.33,9.4), layer=15, texttype=2))
dff_v2_pn_column_gate_so.add(gdstk.Label('VDD', (0.77,9.4), layer=13, texttype=0))
dff_v2_pn_column_gate_so.add(gdstk.Label('VDD', (0.77,9.4), layer=13, texttype=1))
dff_v2_pn_column_gate_so.add(gdstk.Label('VDD', (0.77,9.4), layer=13, texttype=2))
dff_v2_pn_column_gate_so.add(gdstk.Label('VSS', (23.33,10.05), layer=15, texttype=0))
dff_v2_pn_column_gate_so.add(gdstk.Label('VSS', (23.33,10.05), layer=15, texttype=1))
dff_v2_pn_column_gate_so.add(gdstk.Label('VSS', (23.33,10.05), layer=15, texttype=2))
dff_v2_pn_column_gate_so.add(gdstk.Label('VSS', (1.01,10.05), layer=13, texttype=0))
dff_v2_pn_column_gate_so.add(gdstk.Label('VSS', (1.01,10.05), layer=13, texttype=1))
dff_v2_pn_column_gate_so.add(gdstk.Label('VSS', (1.01,10.05), layer=13, texttype=2))
dff_v2_pn_column_gate_so.add(gdstk.Label('D', (23.33,12), layer=15, texttype=0))
dff_v2_pn_column_gate_so.add(gdstk.Label('D', (23.33,12), layer=15, texttype=1))
dff_v2_pn_column_gate_so.add(gdstk.Label('D', (23.33,12), layer=15, texttype=2))
dff_v2_pn_column_gate_so.add(gdstk.Label('D', (12.42,12), layer=13, texttype=0))
dff_v2_pn_column_gate_so.add(gdstk.Label('D', (12.42,12), layer=13, texttype=1))
dff_v2_pn_column_gate_so.add(gdstk.Label('D', (12.42,12), layer=13, texttype=2))
dff_v2_pn_column_gate_so.add(gdstk.Label('Q', (23.33,13.3), layer=15, texttype=0))
dff_v2_pn_column_gate_so.add(gdstk.Label('Q', (23.33,13.3), layer=15, texttype=1))
dff_v2_pn_column_gate_so.add(gdstk.Label('Q', (23.33,13.3), layer=15, texttype=2))
dff_v2_pn_column_gate_so.add(gdstk.Label('Q', (14.52,13.3), layer=13, texttype=0))
dff_v2_pn_column_gate_so.add(gdstk.Label('Q', (14.52,13.3), layer=13, texttype=1))
dff_v2_pn_column_gate_so.add(gdstk.Label('Q', (14.52,13.3), layer=13, texttype=2))
dff_v2_pn_column_gate_so.add(gdstk.Label('CLK', (23.33,10.7), layer=15, texttype=0))
dff_v2_pn_column_gate_so.add(gdstk.Label('CLK', (23.33,10.7), layer=15, texttype=1))
dff_v2_pn_column_gate_so.add(gdstk.Label('CLK', (23.33,10.7), layer=15, texttype=2))
dff_v2_pn_column_gate_so.add(gdstk.Label('CLK', (1.92,10.7), layer=13, texttype=0))
dff_v2_pn_column_gate_so.add(gdstk.Label('CLK', (1.92,10.7), layer=13, texttype=1))
dff_v2_pn_column_gate_so.add(gdstk.Label('CLK', (1.92,10.7), layer=13, texttype=2))

lib.write_gds('DFF_V2_PN_COLUMN_GATE_SORTED_P2p1.gds')
